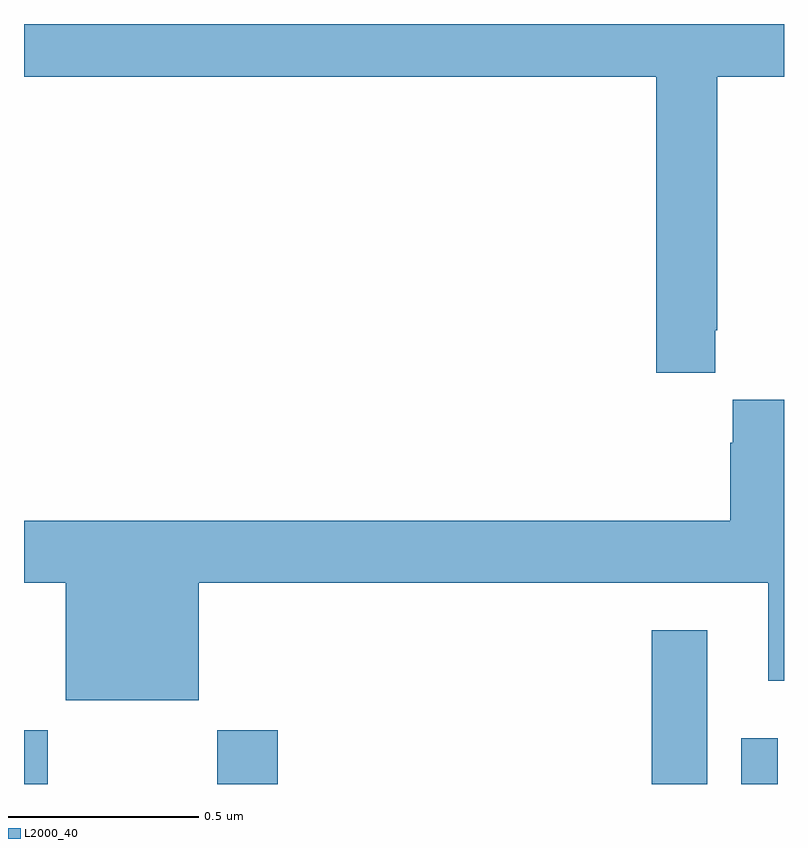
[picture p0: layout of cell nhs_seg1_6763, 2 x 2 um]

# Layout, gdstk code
import gdstk
lib = gdstk.Library(unit=1e-6, precision=1e-09)
def R(c, l, rs):  # rectangles x0, y0, x1, y1
    for r in rs: c.add(gdstk.rectangle(r[:2], r[2:], *l))
def P(c, l, *ps):  # polygons
    for p in ps: c.add(gdstk.Polygon(p, *l))
L2000_40 = (2000, 40)

nhs_seg1_6763 = lib.new_cell('nhs_seg1_6763')
R(nhs_seg1_6763, L2000_40, [(195,555.199,195.063,555.34), (195.508,555.199,195.668,555.34), (196.652,555.199,196.798,555.604), (196.887,555.199,196.983,555.319)])
P(nhs_seg1_6763, L2000_40, [(196.819,556.393),(196.824,556.393),(196.824,557.06),(197,557.06),(197,557.199),(195,557.199),(195,557.06),(196.664,557.06),(196.664,556.281),(196.819,556.281)],
  [(195.46,555.728),(196.958,555.728),(196.958,555.471),(197,555.471),(197,556.21),(196.865,556.21),(196.865,556.097),(196.859,556.097),(196.859,555.892),(195,555.892),(195,555.728),(195.11,555.728),(195.11,555.419),(195.46,555.419)])

lib.write_gds('nhs_seg1_6763.gds')
